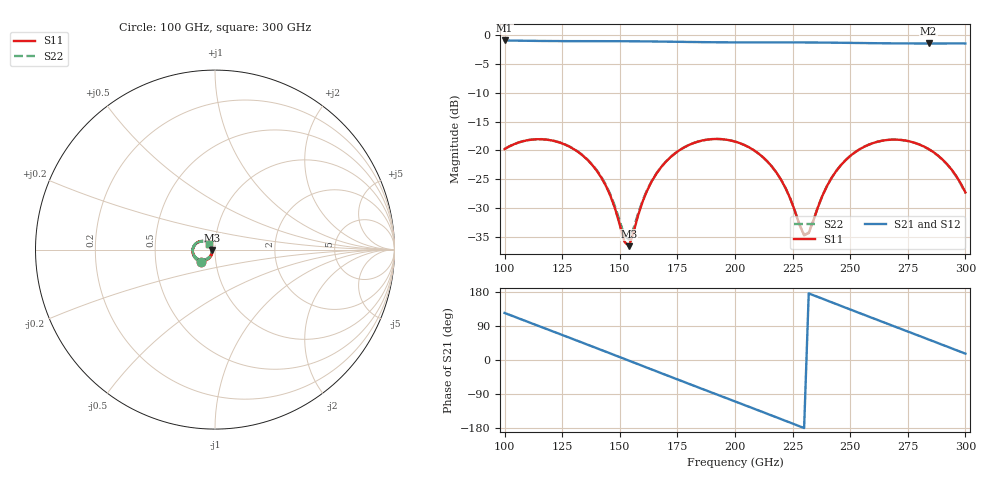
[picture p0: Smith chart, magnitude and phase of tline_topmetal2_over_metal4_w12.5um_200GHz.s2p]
#  GHZ S DB R 50
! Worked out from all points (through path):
!   101 points, 100 GHz to 300 GHz, reference 50 ohm
!   highest |S21| = -0.91 dB at 100 GHz (marker M1); lowest = -1.4 dB at 284 GHz (marker M2)
!   group delay of S21, straight-line fit = 6.5 ps
!   lowest |S11| = -36.6 dB at 154 GHz (marker M3), VSWR 1.03, Z = 48.6 - j0.427 ohm
!   |S11| at or under -10 dB: start of sweep to end of sweep
!   |S22| runs from -35.5 to -18.0 dB; largest |S21 - S12| = 1.5e-13
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100  -19.76 -139.8  -0.91 124.2  -0.91 124.2  -19.75 -139.8
116  -18.07 -173.8  -0.99 86.9  -0.99 86.9  -18.05 -173.5
124  -18.65 169.3  -1.02 68.4  -1.02 68.4  -18.62 169.8
134  -20.92 149.4  -1.03 45.1  -1.03 45.1  -20.87 150.3
144  -26.19 134.9  -1.03 21.7  -1.03 21.7  -26.03 136.9
152  -35.87 163.4  -1.04 2.9  -1.04 2.9  -34.80 165.6
154  -36.63 -162.7  -1.05 -1.8  -1.05 -1.8  -35.46 -165.2
160  -28.79 -121.5  -1.07 -15.9  -1.07 -15.9  -28.62 -125.0
168  -22.88 -127.6  -1.10 -34.8  -1.10 -34.8  -22.85 -129.4
184  -18.47 -157.7  -1.19 -72.2  -1.19 -72.2  -18.46 -158.7
200  -18.46 169.8  -1.24 -109.3  -1.24 -109.3  -18.46 169.1
210  -20.48 150.7  -1.25 -132.6  -1.25 -132.6  -20.48 150.1
218  -23.86 138.6  -1.25 -151.3  -1.25 -151.3  -23.86 138.1
230  -34.75 174.8  -1.26 -179.5  -1.26 -179.5  -34.68 174.4
234  -32.21 -139.9  -1.26 171.0  -1.26 171.0  -32.16 -140.7
240  -26.13 -127.3  -1.28 156.9  -1.28 156.9  -26.12 -128.1
248  -21.70 -136.0  -1.32 138.1  -1.32 138.1  -21.69 -136.7
258  -19.01 -153.9  -1.37 114.7  -1.37 114.7  -19.01 -154.6
268  -18.13 -173.5  -1.41 91.4  -1.41 91.4  -18.13 -174.2
284  -19.76 155.8  -1.43 54.2  -1.43 54.2  -19.77 154.9
292  -22.37 143.0  -1.43 35.5  -1.43 35.5  -22.41 141.7
300  -27.30 138.7  -1.43 16.7  -1.43 16.7  -27.43 136.7
